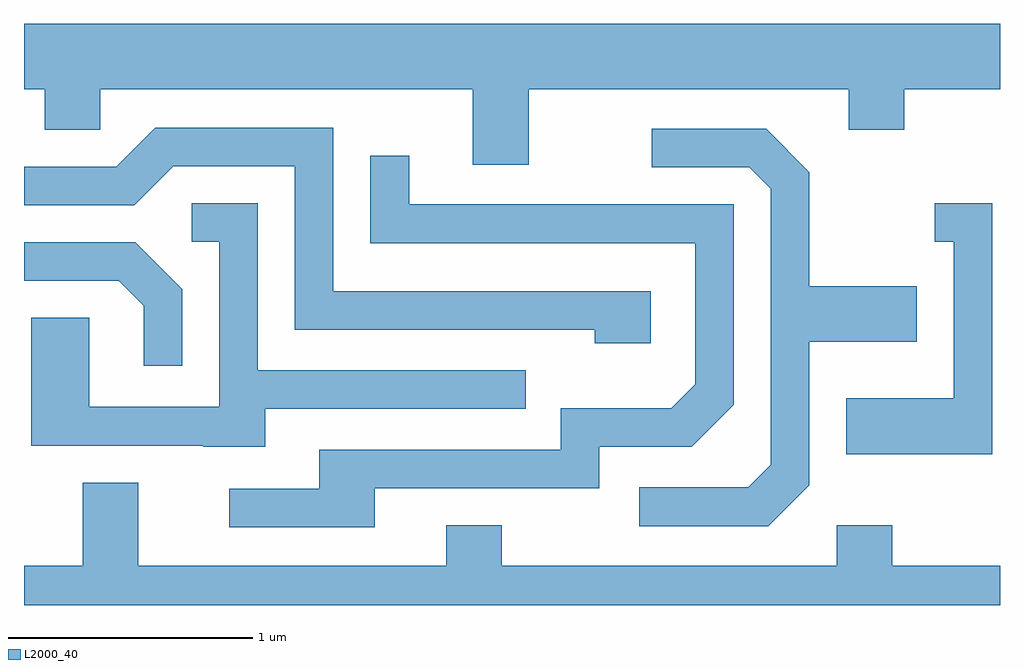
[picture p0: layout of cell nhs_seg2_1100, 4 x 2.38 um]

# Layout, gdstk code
import gdstk
lib = gdstk.Library(unit=1e-6, precision=1e-09)
def P(c, l, *ps):  # polygons
    for p in ps: c.add(gdstk.Polygon(p, *l))
L2000_40 = (2000, 40)

nhs_seg2_1100 = lib.new_cell('nhs_seg2_1100')
P(nhs_seg2_1100, L2000_40, [(219.679,1003.916),(220.991,1003.916),(220.991,1003.751),(221.219,1003.751),(221.219,1003.916),(221.611,1003.916),(221.611,1004.184),(217.611,1004.184),(217.611,1003.916),(217.696,1003.916),(217.696,1003.751),(217.924,1003.751),(217.924,1003.916),(219.451,1003.916),(219.451,1003.606),(219.679,1003.606)],
  [(220.179,1003.089),(218.879,1003.089),(218.879,1003.759),(218.149,1003.759),(217.989,1003.599),(217.611,1003.599),(217.611,1003.441),(218.062,1003.441),(218.222,1003.601),(218.721,1003.601),(218.721,1002.931),(219.951,1002.931),(219.951,1002.876),(220.179,1002.876)],
  [(220.829,1002.294),(220.829,1002.881),(221.269,1002.881),(221.269,1003.109),(220.829,1003.109),(220.829,1003.577),(220.652,1003.754),(220.183,1003.754),(220.183,1003.596),(220.584,1003.596),(220.671,1003.509),(220.671,1002.377),(220.579,1002.284),(220.133,1002.284),(220.133,1002.126),(220.662,1002.126)],
  [(219.049,1002.281),(219.969,1002.281),(219.969,1002.451),(220.347,1002.451),(220.519,1002.624),(220.519,1003.444),(219.189,1003.444),(219.189,1003.643),(219.031,1003.643),(219.031,1003.286),(220.361,1003.286),(220.361,1002.707),(220.264,1002.609),(219.811,1002.609),(219.811,1002.439),(218.821,1002.439),(218.821,1002.279),(218.453,1002.279),(218.453,1002.121),(219.049,1002.121)],
  [(221.579,1003.449),(221.343,1003.449),(221.343,1003.291),(221.421,1003.291),(221.421,1002.649),(220.981,1002.649),(220.981,1002.421),(221.579,1002.421)],
  [(218.599,1002.606),(219.668,1002.606),(219.668,1002.764),(218.569,1002.764),(218.569,1003.449),(218.298,1003.449),(218.298,1003.291),(218.411,1003.291),(218.411,1002.614),(217.879,1002.614),(217.879,1002.979),(217.641,1002.979),(217.641,1002.456),(218.345,1002.456),(218.345,1002.451),(218.599,1002.451)],
  [(218.259,1003.097),(218.067,1003.289),(217.611,1003.289),(217.611,1003.131),(217.999,1003.131),(218.101,1003.029),(218.101,1002.783),(218.259,1002.783)],
  [(221.611,1001.964),(221.169,1001.964),(221.169,1002.129),(220.941,1002.129),(220.941,1001.964),(219.569,1001.964),(219.569,1002.129),(219.341,1002.129),(219.341,1001.964),(218.079,1001.964),(218.079,1002.304),(217.851,1002.304),(217.851,1001.964),(217.611,1001.964),(217.611,1001.802),(221.611,1001.802)])

lib.write_gds('nhs_seg2_1100.gds')
